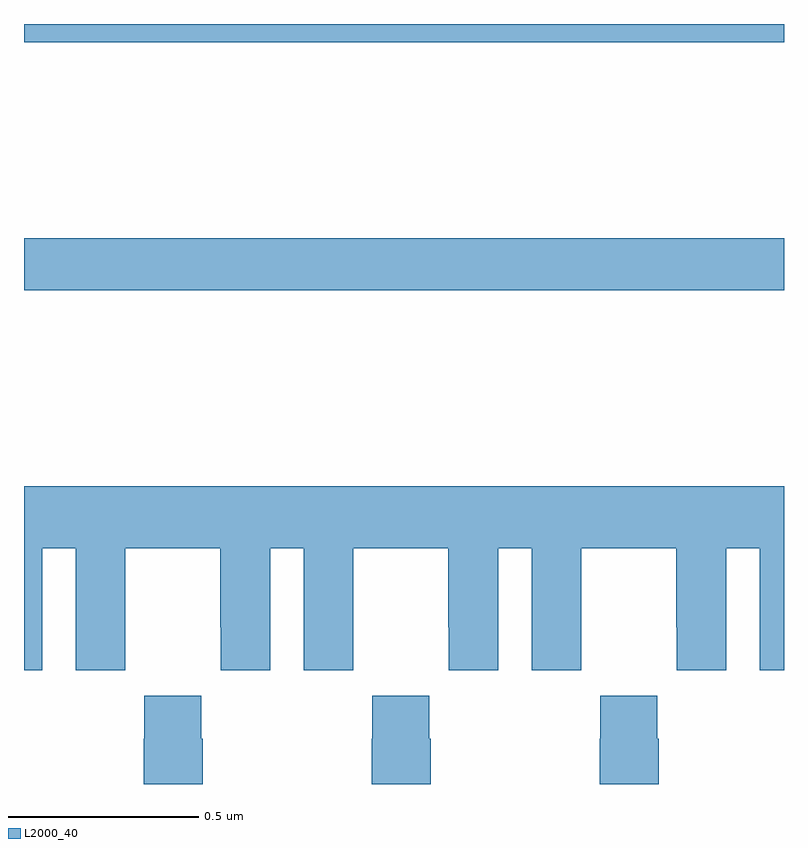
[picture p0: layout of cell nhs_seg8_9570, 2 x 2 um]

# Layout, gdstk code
import gdstk
lib = gdstk.Library(unit=1e-6, precision=1e-09)
def R(c, l, rs):  # rectangles x0, y0, x1, y1
    for r in rs: c.add(gdstk.rectangle(r[:2], r[2:], *l))
def P(c, l, *ps):  # polygons
    for p in ps: c.add(gdstk.Polygon(p, *l))
L2000_40 = (2000, 40)

nhs_seg8_9570 = lib.new_cell('nhs_seg8_9570')
R(nhs_seg8_9570, L2000_40, [(238,1097.2,240,1097.336), (238,1097.852,240,1097.9)])
P(nhs_seg8_9570, L2000_40, [(238.048,1096.52),(238.136,1096.52),(238.136,1096.2),(238.266,1096.2),(238.266,1096.312),(238.267,1096.312),(238.267,1096.52),(238.517,1096.52),(238.517,1096.312),(238.518,1096.312),(238.518,1096.2),(238.648,1096.2),(238.648,1096.52),(238.736,1096.52),(238.736,1096.2),(238.866,1096.2),(238.866,1096.312),(238.867,1096.312),(238.867,1096.52),(239.117,1096.52),(239.117,1096.312),(239.118,1096.312),(239.118,1096.2),(239.248,1096.2),(239.248,1096.52),(239.336,1096.52),(239.336,1096.2),(239.466,1096.2),(239.466,1096.312),(239.467,1096.312),(239.467,1096.52),(239.717,1096.52),(239.717,1096.312),(239.718,1096.312),(239.718,1096.2),(239.848,1096.2),(239.848,1096.52),(239.936,1096.52),(239.936,1096.2),(240,1096.2),(240,1096.684),(238,1096.684),(238,1096.2),(238.048,1096.2)],
  [(238.47,1096.019),(238.467,1096.019),(238.467,1096.132),(238.317,1096.132),(238.317,1096.019),(238.315,1096.019),(238.315,1095.9),(238.47,1095.9)],
  [(239.07,1096.019),(239.067,1096.019),(239.067,1096.132),(238.917,1096.132),(238.917,1096.019),(238.915,1096.019),(238.915,1095.9),(239.07,1095.9)],
  [(239.67,1096.019),(239.667,1096.019),(239.667,1096.132),(239.517,1096.132),(239.517,1096.019),(239.515,1096.019),(239.515,1095.9),(239.67,1095.9)])

lib.write_gds('nhs_seg8_9570.gds')
